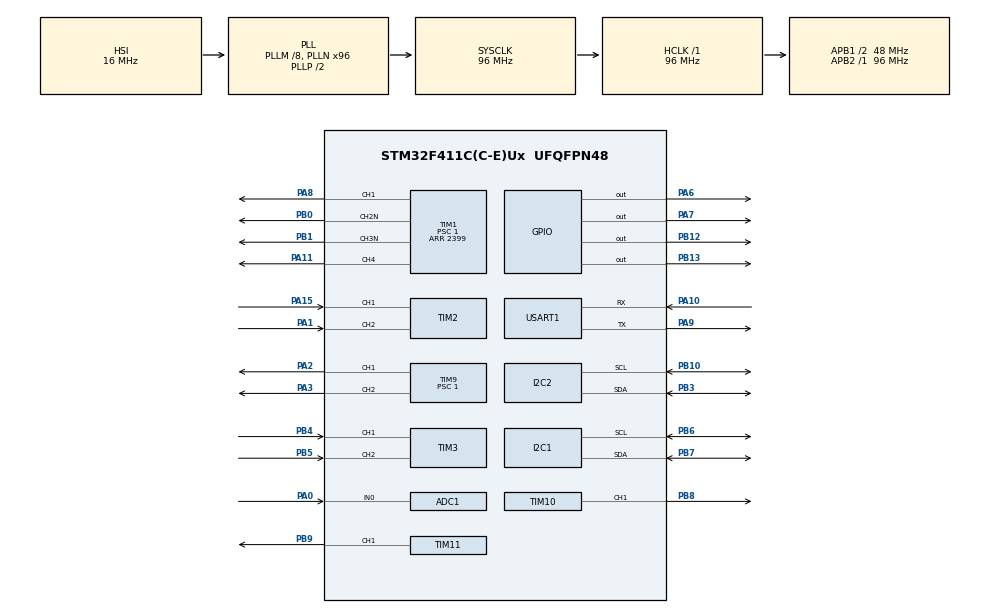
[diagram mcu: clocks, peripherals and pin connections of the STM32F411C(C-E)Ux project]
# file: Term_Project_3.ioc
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ADC1.Channel-0\#ChannelRegularConversion=ADC_CHANNEL_0
ADC1.NbrOfConversionFlag=1
ADC1.Rank-0\#ChannelRegularConversion=1
ADC1.SamplingTime-0\#ChannelRegularConversion=ADC_SAMPLETIME_3CYCLES
ADC1.master=1
Mcu.Family=STM32F4
Mcu.Name=STM32F411C(C-E)Ux
Mcu.Package=UFQFPN48
NVIC.PriorityGroup=NVIC_PRIORITYGROUP_4
NVIC.USART1_IRQn=true\:0\:0\:false\:false\:true\:true\:true\:true
PA0-WKUP.Signal=SharedAnalog_PA0
PA1.Signal=S_TIM2_CH2
PA10.Mode=Asynchronous
PA10.Signal=USART1_RX
PA11.Signal=S_TIM1_CH4
PA13.Mode=Serial_Wire
PA13.Signal=SYS_JTMS-SWDIO
PA14.Mode=Serial_Wire
PA14.Signal=SYS_JTCK-SWCLK
PA15.Signal=S_TIM2_CH1_ETR
PA2.Signal=S_TIM9_CH1
PA3.Signal=S_TIM9_CH2
PA6.Signal=GPIO_Output
PA7.Signal=GPIO_Output
PA8.Signal=S_TIM1_CH1
PA9.Mode=Asynchronous
PA9.Signal=USART1_TX
PB0.Mode=PWM Generation2 CH2N
PB0.Signal=TIM1_CH2N
PB1.Mode=PWM Generation3 CH3N
PB1.Signal=TIM1_CH3N
PB10.Mode=I2C
PB10.Signal=I2C2_SCL
PB12.Signal=GPIO_Output
PB13.Signal=GPIO_Output
PB3.Mode=I2C
PB3.Signal=I2C2_SDA
PB4.Signal=S_TIM3_CH1
PB5.Signal=S_TIM3_CH2
PB6.Mode=I2C
PB6.Signal=I2C1_SCL
PB7.Mode=I2C
PB7.Signal=I2C1_SDA
PB8.Signal=S_TIM10_CH1
PB9.Signal=S_TIM11_CH1
PH0\ -\ OSC_IN.Mode=HSE-External-Oscillator
PH0\ -\ OSC_IN.Signal=RCC_OSC_IN
PH1\ -\ OSC_OUT.Mode=HSE-External-Oscillator
PH1\ -\ OSC_OUT.Signal=RCC_OSC_OUT
ProjectManager.HeapSize=0x200
ProjectManager.StackSize=0x400
ProjectManager.TargetToolchain=STM32CubeIDE
RCC.48MHZClocksFreq_Value=48000000
RCC.AHBFreq_Value=96000000
RCC.APB1CLKDivider=RCC_HCLK_DIV2
RCC.APB1Freq_Value=48000000
RCC.APB1TimFreq_Value=96000000
RCC.APB2Freq_Value=96000000
RCC.APB2TimFreq_Value=96000000
RCC.CortexFreq_Value=96000000
RCC.HCLKFreq_Value=96000000
RCC.HSE_VALUE=16000000
RCC.HSI_VALUE=16000000
RCC.LSE_VALUE=32768
RCC.PLLM=8
RCC.PLLN=96
RCC.SYSCLKFreq_VALUE=96000000
RCC.SYSCLKSource=RCC_SYSCLKSOURCE_PLLCLK
RCC.VCOOutputFreq_Value=192000000
SH.S_TIM10_CH1.0=TIM10_CH1,PWM Generation1 CH1
SH.S_TIM11_CH1.0=TIM11_CH1,PWM Generation1 CH1
SH.S_TIM1_CH1.0=TIM1_CH1,PWM Generation1 CH1
SH.S_TIM1_CH4.0=TIM1_CH4,PWM Generation4 CH4
SH.S_TIM2_CH1_ETR.0=TIM2_CH1,Encoder_Interface
SH.S_TIM2_CH2.0=TIM2_CH2,Encoder_Interface
SH.S_TIM3_CH1.0=TIM3_CH1,Encoder_Interface
SH.S_TIM3_CH2.0=TIM3_CH2,Encoder_Interface
SH.S_TIM9_CH1.0=TIM9_CH1,PWM Generation1 CH1
SH.S_TIM9_CH2.0=TIM9_CH2,PWM Generation2 CH2
SH.SharedAnalog_PA0.0=GPIO_Analog
SH.SharedAnalog_PA0.1=ADC1_IN0,IN0
TIM1.Channel-PWM\ Generation1\ CH1=TIM_CHANNEL_1
TIM1.Channel-PWM\ Generation2\ CH2N=TIM_CHANNEL_2
TIM1.Channel-PWM\ Generation3\ CH3N=TIM_CHANNEL_3
TIM1.Channel-PWM\ Generation4\ CH4=TIM_CHANNEL_4
TIM1.Period=2399
TIM1.Prescaler=1
TIM10.Channel=TIM_CHANNEL_1
TIM10.Period=2399
TIM10.Prescaler=1
TIM11.Channel=TIM_CHANNEL_1
TIM11.Period=2399
TIM11.Prescaler=1
TIM9.Channel-PWM\ Generation1\ CH1=TIM_CHANNEL_1
TIM9.Channel-PWM\ Generation2\ CH2=TIM_CHANNEL_2
TIM9.Period=2399
TIM9.Prescaler=1
USART1.VirtualMode=VM_ASYNC
VP_TIM10_VS_ClockSourceINT.Mode=Enable_Timer
VP_TIM11_VS_ClockSourceINT.Mode=Enable_Timer
board=custom

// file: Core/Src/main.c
/* USER CODE BEGIN Header */
/**
  ******************************************************************************
  * @file main.c
  * @brief Application entry point for ping pong launcher project
  *
  * This file initializes the STM32 peripherals, sets up the finite state machine (FSM),
  * and starts the main control loop. The IMU is initialized and verified, but not actively
  * used in the FSM during runtime.
  *
  * Major functions:
  * - Setup clocks, timers, I2C, and UART
  * - Initialize motors and servo
  * - Run FSM in infinite loop
  * - Provide IMU debug output for calibration and heading
  ******************************************************************************
  * @attention
  *
  * Copyright (c) 2025 STMicroelectronics.
  * All rights reserved.
  *
  * This software is licensed under terms that can be found in the LICENSE file
  * in the root directory of this software component.
  * If no LICENSE file comes with this software, it is provided AS-IS.
  *
  ******************************************************************************
  */
/* USER CODE END Header */
#include "main.h"

/* USER CODE BEGIN Includes */
#include "motor.h"
#include "imu.h"
//#include "fsm.h"
#include <math.h>
#include <stdio.h>
#include <stdint.h>
#include <stdlib.h>
#include <string.h>
#include <ctype.h>
/* USER CODE END Includes */

/* USER CODE BEGIN PTD */
extern I2C_HandleTypeDef hi2c2;

volatile uint8_t imu_mode = 0;
volatile uint8_t calib_mode = 0;

volatile uint8_t lidar_mode = 0;
uint8_t lidar_buf[4];
/* USER CODE END PTD */

/* USER CODE BEGIN PD */
#define CPR_TURRET 3200
/* USER CODE END PD */

ADC_HandleTypeDef hadc1;

I2C_HandleTypeDef hi2c1;
I2C_HandleTypeDef hi2c2;

TIM_HandleTypeDef htim1;
TIM_HandleTypeDef htim2;
TIM_HandleTypeDef htim3;
TIM_HandleTypeDef htim9;
TIM_HandleTypeDef htim10;
TIM_HandleTypeDef htim11;

UART_HandleTypeDef huart1;

/* USER CODE BEGIN PV */
int32_t duty_flywheel1 = 0;
int32_t duty_flywheel2 = 0;
int32_t duty_turret1 = 0;
int32_t duty_turret2 = 0;

int32_t turret1_enc_count = 0;
int32_t turret1_enc_deg = 0;
int32_t turret1_target = 0;

int32_t turret2_enc_pos = 0;
int32_t turret2_enc_deg = 0;
int32_t turret2_target = 0;

motor_t flywheel1 = {
    .htim_forward = &htim1, .channel_forward = TIM_CHANNEL_1,
    .htim_reverse = &htim1, .channel_reverse = TIM_CHANNEL_4,
    .duty = 0, .target = 0, .actual = 0
};

motor_t flywheel2 = {
    .htim_forward = &htim9, .channel_forward = TIM_CHANNEL_1,
    .htim_reverse = &htim9, .channel_reverse = TIM_CHANNEL_2,
    .duty = 0, .target = 0, .actual = 0
};

motor_t turret1 = {
    .htim_forward = &htim1, .channel_forward = TIM_CHANNEL_2,
    .htim_reverse = &htim1, .channel_reverse = TIM_CHANNEL_3,
    .duty = 0, .target = 0, .actual = 0
};

motor_t turret2 = {
    .htim_forward = &htim10, .channel_forward = TIM_CHANNEL_1,
    .htim_reverse = &htim11, .channel_reverse = TIM_CHANNEL_1,
    .duty = 0, .target = 0, .actual = 0
};

// Define FSM states
typedef enum {
    STATE_0,
    STATE_1,
	STATE_2,
	STATE_3,
	STATE_4,
	STATE_5,
	STATE_6
} State_t;
State_t current_state = STATE_0;

uint8_t auto_mode = 0;
uint8_t auto_mot = 0;
uint8_t auto_lidar = 0;
uint16_t scan_index = 0;

uint32_t turret_move_start = 0;
uint16_t min_scan_dist = 0xFFFF;
uint16_t min_scan_index = 0;
uint16_t scan_res = 20;
int scan_dist[20];
int scan_amp[20];

#define RX_BUFFER_SIZE 7
uint8_t rx_buffer[RX_BUFFER_SIZE];
uint8_t rx_index = 0;
char msg_int[64];
char msg_main[64];
/* USER CODE END PV */

void SystemClock_Config(void);
static void MX_GPIO_Init(void);
static void MX_ADC1_Init(void);
static void MX_I2C1_Init(void);
static void MX_I2C2_Init(void);
static void MX_TIM1_Init(void);
static void MX_TIM2_Init(void);
static void MX_TIM3_Init(void);
static void MX_TIM9_Init(void);
static void MX_TIM10_Init(void);
static void MX_TIM11_Init(void);
static void MX_USART1_UART_Init(void);

/* USER CODE BEGIN 0 */
// === Servo Software PWM ===
void dwt_init(void) {
    CoreDebug->DEMCR |= CoreDebug_DEMCR_TRCENA_Msk;
    DWT->CYCCNT = 0;
    DWT->CTRL |= DWT_CTRL_CYCCNTENA_Msk;
}

uint16_t servo_angle = 140;  // global control variable
uint16_t servo_step = 0;
uint32_t servo_step_time = 0;

void servo_pwm_update(void) {
    static enum { IDLE, HIGH, LOW } state	 = IDLE;
    static uint32_t pulse_start_us = 0;
    static uint32_t period_start_us = 0;
    uint32_t now_us = DWT->CYCCNT / (SystemCoreClock / 1000000);

    uint32_t pulse_width_us = 1000 + ((uint32_t)servo_angle * 1000) / 180;

    switch (state) {
        case IDLE:
            HAL_GPIO_WritePin(GPIOA, GPIO_PIN_6, GPIO_PIN_SET);
            pulse_start_us = now_us;
            period_start_us = now_us;
            state = HIGH;
            break;
        case HIGH:
            if ((now_us - pulse_start_us) >= pulse_width_us) {
                HAL_GPIO_WritePin(GPIOA, GPIO_PIN_6, GPIO_PIN_RESET);
                state = LOW;
            }
            break;
        case LOW:
            if ((now_us - period_start_us) >= 20000) {
                state = IDLE;
            }
            break;
    }
}
/* USER CODE END 0 */

/**
  * @brief Main entry point — configures peripherals and enters control loop
  * @retval int
  */
int main(void)
{

  /* MCU Configuration--------------------------------------------------------*/

  /* Reset of all peripherals, Initializes the Flash interface and the Systick. */
  HAL_Init();

  /* Configure the system clock */
  SystemClock_Config();

  /* Initialize all configured peripherals */
  MX_GPIO_Init();
  MX_ADC1_Init();
  MX_I2C1_Init();
  MX_I2C2_Init();
  MX_TIM1_Init();
  MX_TIM2_Init();
  MX_TIM3_Init();
  MX_TIM9_Init();
  MX_TIM10_Init();
  MX_TIM11_Init();
  MX_USART1_UART_Init();
  /* USER CODE BEGIN 2 */
  HAL_TIM_PWM_Start(&htim1, TIM_CHANNEL_1);
  HAL_TIMEx_PWMN_Start(&htim1, TIM_CHANNEL_2);
  HAL_TIMEx_PWMN_Start(&htim1, TIM_CHANNEL_3);
  HAL_TIM_PWM_Start(&htim1, TIM_CHANNEL_4);
  HAL_TIM_PWM_Start(&htim9, TIM_CHANNEL_1);
  HAL_TIM_PWM_Start(&htim9, TIM_CHANNEL_2);
  HAL_TIM_PWM_Start(&htim10, TIM_CHANNEL_1);
  HAL_TIM_PWM_Start(&htim11, TIM_CHANNEL_1);
  HAL_TIM_Encoder_Start(&htim2, TIM_CHANNEL_ALL);
  HAL_TIM_Encoder_Start(&htim3, TIM_CHANNEL_ALL);
  HAL_GPIO_WritePin(GPIOB, GPIO_PIN_13, GPIO_PIN_RESET); // Force TF_Luna into I2C mode
  HAL_GPIO_WritePin(GPIOB, GPIO_PIN_12, GPIO_PIN_SET);  // Drive IMU RESET PIN high
  HAL_Delay(100);  // Optional but useful
  dwt_init();            // For accurate microsecond delay
  HAL_GPIO_WritePin(GPIOA, GPIO_PIN_6, GPIO_PIN_RESET);  // Initialize servo pin low
  HAL_Delay(100);

  // LUNA LIDAR I2C Check
  if (HAL_I2C_IsDeviceReady(&hi2c2, 0x10 << 1, 3, 100) == HAL_OK) {
      HAL_UART_Transmit(&huart1, (uint8_t*)"TF-Luna ready!\r\n", 17, HAL_MAX_DELAY);
  } else {
      HAL_UART_Transmit(&huart1, (uint8_t*)"TF-Luna NOT responding\r\n", 25, HAL_MAX_DELAY);
  }

  // BNO055 IMU I2C Check
  // #define BNO055_ADDR (0x29 << 1)  // 7-bit address shifted for STM32 HAL

  if (HAL_I2C_IsDeviceReady(&hi2c1, BNO055_ADDR, 3, 100) == HAL_OK) {
	  HAL_UART_Transmit(&huart1, (uint8_t*)"BNO055 ready!\r\n", 16, HAL_MAX_DELAY);
  } else {
   	  HAL_UART_Transmit(&huart1, (uint8_t*)"BNO055 NOT responding\r\n", 25, HAL_MAX_DELAY);
  }

  // IMU Init
  BNO055_Init(&hi2c1);
  //BNO055_StartCalibration();

  //uint8_t sys, gyr, acc, mag;
  //BNO055_GetCalibStatus(&sys, &gyr, &acc, &mag);
  //int len = sprintf(msg_main, "Calib SYS:%d GYR:%d ACC:%d MAG:%d\r\n", sys, gyr, acc, mag);
  //HAL_UART_Transmit(&huart1, (uint8_t*)msg_main, len, HAL_MAX_DELAY);
  HAL_Delay(100);
  int len = sprintf(msg_main, "Ping Pong Bot Starting...\r\n");
  HAL_UART_Transmit(&huart1, (uint8_t*)msg_main, len, HAL_MAX_DELAY);
  HAL_UART_Receive_IT(&huart1, &rx_buffer[rx_index], 1);
  /* USER CODE END 2 */

  /* Infinite loop */
  /* USER CODE BEGIN WHILE */
  int32_t turret1_enc_last = -1;
  int16_t turret2_enc_last = -1;
  uint8_t printed = 0;
  float heading, roll, pitch;
  int32_t imu_head_deg10 = 0;
  int32_t imu_roll_deg10 = 0;
  HAL_Delay(1000);
  //FSM_Init();
  while (1)
  {
    /* USER CODE END WHILE */

    /* USER CODE BEGIN 3 */
		//uint8_t mode = 0x00;
		//HAL_I2C_Mem_Write(&hi2c1, (0x29 << 1), 0x3D, I2C_MEMADD_SIZE_8BIT, &mode, 1, 10);
		//BNO055_ReadEuler(&heading,&roll,&pitch);
		//imu_head_deg10 = (int32_t)(heading*10.0f);
		//imu_roll_deg10 = (int32_t)(roll*10.0f);
		//HAL_Delay(20);
	    if (imu_mode) {
	        //float heading, roll, pitch;
	        //BNO055_ReadEuler(&heading, &roll, &pitch);

	        //int len = sprintf(msg_main, "H: %.1f R: %.1f P: %.1f\r\n", heading / 16.0f, roll / 16.0f, pitch / 16.0f);
	        int len = sprintf(msg_main, "H: %.1f R: %.1f P: %.1f\r\n", heading, roll, pitch);
	    	HAL_UART_Transmit(&huart1, (uint8_t*)msg_main, len, HAL_MAX_DELAY);
	        len = sprintf(msg_main, "H: %d R: %d\r\n",imu_head_deg10,imu_roll_deg10);
	    	HAL_UART_Transmit(&huart1, (uint8_t*)msg_main, len, HAL_MAX_DELAY);

	        HAL_Delay(500);  // Limit update rate
	    }

	  // ENCODERS
	  turret1_enc_count = __HAL_TIM_GET_COUNTER(&htim2);
	  if (turret1_enc_count != turret1_enc_last) {
	      turret1_enc_deg = (7200 * turret1_enc_count) / (3200*10); // 7200 = 360.0 deg × 20 (tenths)
 	      turret1_enc_last = turret1_enc_count;
	  }
	  int16_t turret2_enc_now = (int16_t)__HAL_TIM_GET_COUNTER(&htim3);
	  int16_t delta = turret2_enc_now - turret2_enc_last;
      turret2_enc_last = turret2_enc_now;
      turret2_enc_pos += delta;
      turret2_enc_deg = (7200 * turret2_enc_pos) / (3200*10); // degrees × 10
      //turret1_enc_deg = imu_roll_deg10;
      // SOFTWARE PWM
      servo_pwm_update();
      // FINITE-STATE-MACHINE
      switch(current_state)
      {
      	  //int len;
      	  case STATE_0: // Initialize
      		  turret1_target = -150;
      		  turret2_target = 30;
				if (turret_move_start == 0) {
					turret_move_start = HAL_GetTick();
				}
      		  //turret1_target = 0;
      		  //turret2_target = 0;
      		  move_to(&turret1, turret1_target, turret1_enc_deg);
      		  move_to(&turret2, turret2_target, turret2_enc_deg);
      		  //if (HAL_GetTick() - turret_move_start >= 2000)
      		  if (abs(turret1_target - turret1_enc_deg) < 5 && abs(turret2_target - turret2_enc_deg) < 5)
      		  {
      		      turret_move_start = 0;
      		      //enable(&turret2);
      			  current_state = STATE_1;
      		      int len = sprintf(msg_main, "Motors Initialized\r\n");
    	          HAL_UART_Transmit(&huart1, (uint8_t*)msg_main, len, HAL_MAX_DELAY);
      		  }
      		  break;
      	  case STATE_1: // Hub
      		  if (!printed) {
      			  int len = sprintf(msg_main, "Waiting Command...\r\n");
    	          HAL_UART_Transmit(&huart1, (uint8_t*)msg_main, len, HAL_MAX_DELAY);
      			  printed = 1;
      		  }
      		  break;
			case STATE_2: // Move turret
			{
				// Start timing on first entry into this state
				if (turret_move_start == 0) {
					turret_move_start = HAL_GetTick();
				}
					move_to(&turret1, turret1_target, turret1_enc_deg);
					move_to(&turret2, turret2_target, turret2_enc_deg);

					// Wait 1 second before considering the move "complete"
					if (abs(turret1_target - turret1_enc_deg) < 5 && abs(turret2_target - turret2_enc_deg) < 5){
					//if (HAL_GetTick() - turret_move_start >= 1000) {
						turret_move_start = 0;  // Reset for next use
						enable(&turret1);
						enable(&turret2);
						//int len = sprintf(msg_main, "Turret Move Timed Out\r\n");
						//HAL_UART_Transmit(&huart1, (uint8_t*)msg_main, len, HAL_MAX_DELAY);
						if (auto_mode == 0){
							current_state = STATE_1;
							printed = 0;
						}
						else {
							auto_mot = 1;
							current_state = STATE_6;
						}
					}
			}
			break;
      	  case STATE_3: // Lidar
      	  {
      		  uint8_t reg = 0x00;
      	      uint16_t dist = 0;
      	      uint16_t amp = 0;
      	      if (HAL_I2C_Master_Transmit(&hi2c2, 0x10 << 1, &reg, 1, 10) == HAL_OK &&
      	      	  HAL_I2C_Master_Receive(&hi2c2, 0x10 << 1, lidar_buf, 4, 10) == HAL_OK) {
      	      	  dist = lidar_buf[0] | (lidar_buf[1] << 8);
      	      	  amp  = lidar_buf[2] | (lidar_buf[3] << 8);
      	      } else {

      	      }
	          if (auto_mode == 0){
	      	      int len = sprintf(msg_main, "Dist: %d cm, Amp: %d\r\n", dist, amp);
		          HAL_UART_Transmit(&huart1, (uint8_t*)msg_main, len, HAL_MAX_DELAY);
		          current_state = STATE_1;
		          printed = 0;
	          }
	          else {
	      	      int len = sprintf(msg_main, "Auto Dist: %d cm, Amp: %d\r\n", dist, amp);
		          HAL_UART_Transmit(&huart1, (uint8_t*)msg_main, len, HAL_MAX_DELAY);
		          scan_dist[scan_index] = dist;
		          scan_amp[scan_index] = amp;
		          if (dist < min_scan_dist && amp > 100) {
		              min_scan_dist = dist;
		              min_scan_index = scan_index;
		          }
		          current_state = STATE_6;
		          auto_lidar = 1;
	          }
      	  }
	      break;
      	  case STATE_4: // Flywheels
      	  {
      		  set_duty(&flywheel1, duty_flywheel1);
	          int len = sprintf(msg_main, "Flywheel Speed Set\r\n");
	          HAL_UART_Transmit(&huart1, (uint8_t*)msg_main, len, HAL_MAX_DELAY);
      		  if (auto_mode == 0){
      			  current_state = STATE_1;
      			  printed = 0;
      		  }
      		  else {
      			  current_state = STATE_6;
      		  }
      	  }
          break;
      	  case STATE_5: // launch
      	  {
      	    //int len = sprintf(msg_main, "Servo state: %d\r\n", servo_step);
      	    //HAL_UART_Transmit(&huart1, (uint8_t*)msg_main, len, HAL_MAX_DELAY);
      	    switch (servo_step) {
      	        case 0:
      	            servo_angle = 320;  // move back
      	            servo_step_time = HAL_GetTick();
      	            servo_step = 1;
      	            break;
      	        case 1:
      	            if (HAL_GetTick() - servo_step_time >= 300) {
      	                servo_angle = 140;  // move forward
      	                servo_step_time = HAL_GetTick();
      	                servo_step = 2;
      	            }
      	            break;
      	        case 2:
      	            if (HAL_GetTick() - servo_step_time >= 300) {
      	                servo_angle = 140;  // return to center
      	                if (auto_mode == 0){
      	                	current_state = STATE_1;
      	                	printed = 0;
      	                	servo_step = 0;
      	                }
      	                else {
      	                	current_state = STATE_6;
      	                	servo_step = 0;  // reset step
      	                }
      	            }
      	            break;
      	    }
      	}
      	break;
      	case STATE_6: // Auto scan
      	{
      		HAL_Delay(50); // Avoid console clogging
      		if (scan_index < 20){
      			if (auto_mot == 0){
      				turret2_target = (10*scan_index);
      				current_state = STATE_2;
            	    //int len = sprintf(msg_main, "Motor Movement %d \r\n", scan_index);
      	            //HAL_UART_Transmit(&huart1, (uint8_t*)msg_main, len, HAL_MAX_DELAY);
      			}
      			else if (auto_lidar == 0){
      				current_state = STATE_3;
            	    //int len = sprintf(msg_main, "LIDAR Scan %d \r\n", scan_index);
      	            //HAL_UART_Transmit(&huart1, (uint8_t*)msg_main, len, HAL_MAX_DELAY);
      			}
      			else if (auto_mot == 1 && auto_lidar == 1){
      				scan_index += 1;
      				auto_mot = 0;
      				auto_lidar = 0;
      			}
      		}
      		else if (scan_index == 20){
      		    // Reset scan for next time
      		    if (min_scan_dist > 450){
      		    	int len = sprintf(msg_main,"No object in range");
      		    	HAL_UART_Transmit(&huart1, (uint8_t*)msg_main, len, HAL_MAX_DELAY);
      		    	scan_index = 24;
      		    }
      		    else {//scan_index = 0;
          		    len = sprintf(msg_main, "Scan complete. Closest at index %d, dist %d cm\r\n",
          		                      min_scan_index, min_scan_dist);
          		    HAL_UART_Transmit(&huart1, (uint8_t*)msg_main, len, HAL_MAX_DELAY);
      		    	//min_scan_index = 0;
      		    	turret2_target = (10*min_scan_index);
      		    	//turret1_target = -180;
      		    	scan_index = 21;
      		    	current_state = STATE_2;
      		    }
      		}
      		else if (scan_index == 21){
      			if (min_scan_dist < 100){
      				duty_flywheel1 = 85;
      			}
      			else if (min_scan_dist < 250){
      				duty_flywheel1 = 90;
      			}
      			else {
      				duty_flywheel1 = 100;
      			}
      			current_state = STATE_4;
      			scan_index = 22;
      		}
      		else if (scan_index == 22){
      			current_state = STATE_5;
      			scan_index = 23;
      		}
      		else if (scan_index == 23){
      			duty_flywheel1 = 0;
      			current_state = 4;
      			scan_index = 24;
      		}
      		else if (scan_index == 24){
      			auto_mode = 0;
      			printed = 0;
      			scan_index = 0;
      			min_scan_dist = 0xFFFF;
      			min_scan_index = 0;
      			current_state = STATE_1;
      		}
      		else {
        	    int len = sprintf(msg_main, "BROKEN CODE");
        	   	HAL_UART_Transmit(&huart1, (uint8_t*)msg_main, len, HAL_MAX_DELAY);
        	   	scan_index = 0;
        	   	current_state = STATE_1;
      		}
        }
      	break;
      }
	}
  /* USER CODE END 3 */
}

void SystemClock_Config(void)
{
  RCC_OscInitTypeDef RCC_OscInitStruct = {0};
  RCC_ClkInitTypeDef RCC_ClkInitStruct = {0};

  /** Configure the main internal regulator output voltage
  */
  __HAL_RCC_PWR_CLK_ENABLE();
  __HAL_PWR_VOLTAGESCALING_CONFIG(PWR_REGULATOR_VOLTAGE_SCALE1);

  /** Initializes the RCC Oscillators according to the specified parameters
  * in the RCC_OscInitTypeDef structure.
  */
  RCC_OscInitStruct.OscillatorType = RCC_OSCILLATORTYPE_HSI;
  RCC_OscInitStruct.HSIState = RCC_HSI_ON;
  RCC_OscInitStruct.HSICalibrationValue = RCC_HSICALIBRATION_DEFAULT;
  RCC_OscInitStruct.PLL.PLLState = RCC_PLL_ON;
  RCC_OscInitStruct.PLL.PLLSource = RCC_PLLSOURCE_HSI;
  RCC_OscInitStruct.PLL.PLLM = 8;
  RCC_OscInitStruct.PLL.PLLN = 96;
  RCC_OscInitStruct.PLL.PLLP = RCC_PLLP_DIV2;
  RCC_OscInitStruct.PLL.PLLQ = 4;
  if (HAL_RCC_OscConfig(&RCC_OscInitStruct) != HAL_OK)
  {
    Error_Handler();
  }

  /** Initializes the CPU, AHB and APB buses clocks
  */
  RCC_ClkInitStruct.ClockType = RCC_CLOCKTYPE_HCLK|RCC_CLOCKTYPE_SYSCLK
                              |RCC_CLOCKTYPE_PCLK1|RCC_CLOCKTYPE_PCLK2;
  RCC_ClkInitStruct.SYSCLKSource = RCC_SYSCLKSOURCE_PLLCLK;
  RCC_ClkInitStruct.AHBCLKDivider = RCC_SYSCLK_DIV1;
  RCC_ClkInitStruct.APB1CLKDivider = RCC_HCLK_DIV2;
  RCC_ClkInitStruct.APB2CLKDivider = RCC_HCLK_DIV1;

  if (HAL_RCC_ClockConfig(&RCC_ClkInitStruct, FLASH_LATENCY_3) != HAL_OK)
  {
    Error_Handler();
  }
}

static void MX_ADC1_Init(void)
{

  ADC_ChannelConfTypeDef sConfig = {0};

  /** Configure the global features of the ADC (Clock, Resolution, Data Alignment and number of conversion)
  */
  hadc1.Instance = ADC1;
  hadc1.Init.ClockPrescaler = ADC_CLOCK_SYNC_PCLK_DIV4;
  hadc1.Init.Resolution = ADC_RESOLUTION_12B;
  hadc1.Init.ScanConvMode = DISABLE;
  hadc1.Init.ContinuousConvMode = DISABLE;
  hadc1.Init.DiscontinuousConvMode = DISABLE;
  hadc1.Init.ExternalTrigConvEdge = ADC_EXTERNALTRIGCONVEDGE_NONE;
  hadc1.Init.ExternalTrigConv = ADC_SOFTWARE_START;
  hadc1.Init.DataAlign = ADC_DATAALIGN_RIGHT;
  hadc1.Init.NbrOfConversion = 1;
  hadc1.Init.DMAContinuousRequests = DISABLE;
  hadc1.Init.EOCSelection = ADC_EOC_SINGLE_CONV;
  if (HAL_ADC_Init(&hadc1) != HAL_OK)
  {
    Error_Handler();
  }

  /** Configure for the selected ADC regular channel its corresponding rank in the sequencer and its sample time.
  */
  sConfig.Channel = ADC_CHANNEL_0;
  sConfig.Rank = 1;
  sConfig.SamplingTime = ADC_SAMPLETIME_3CYCLES;
  if (HAL_ADC_ConfigChannel(&hadc1, &sConfig) != HAL_OK)
  {
    Error_Handler();
  }

}

static void MX_I2C1_Init(void)
{

  hi2c1.Instance = I2C1;
  hi2c1.Init.ClockSpeed = 100000;
  hi2c1.Init.DutyCycle = I2C_DUTYCYCLE_2;
  hi2c1.Init.OwnAddress1 = 0;
  hi2c1.Init.AddressingMode = I2C_ADDRESSINGMODE_7BIT;
  hi2c1.Init.DualAddressMode = I2C_DUALADDRESS_DISABLE;
  hi2c1.Init.OwnAddress2 = 0;
  hi2c1.Init.GeneralCallMode = I2C_GENERALCALL_DISABLE;
  hi2c1.Init.NoStretchMode = I2C_NOSTRETCH_DISABLE;
  if (HAL_I2C_Init(&hi2c1) != HAL_OK)
  {
    Error_Handler();
  }

}

static void MX_I2C2_Init(void)
{

  hi2c2.Instance = I2C2;
  hi2c2.Init.ClockSpeed = 100000;
  hi2c2.Init.DutyCycle = I2C_DUTYCYCLE_2;
  hi2c2.Init.OwnAddress1 = 0;
  hi2c2.Init.AddressingMode = I2C_ADDRESSINGMODE_7BIT;
  hi2c2.Init.DualAddressMode = I2C_DUALADDRESS_DISABLE;
  hi2c2.Init.OwnAddress2 = 0;
  hi2c2.Init.GeneralCallMode = I2C_GENERALCALL_DISABLE;
  hi2c2.Init.NoStretchMode = I2C_NOSTRETCH_DISABLE;
  if (HAL_I2C_Init(&hi2c2) != HAL_OK)
  {
    Error_Handler();
  }

}

static void MX_TIM1_Init(void)
{

  TIM_MasterConfigTypeDef sMasterConfig = {0};
  TIM_OC_InitTypeDef sConfigOC = {0};
  TIM_BreakDeadTimeConfigTypeDef sBreakDeadTimeConfig = {0};

  htim1.Instance = TIM1;
  htim1.Init.Prescaler = 1;
  htim1.Init.CounterMode = TIM_COUNTERMODE_UP;
  htim1.Init.Period = 2399;
  htim1.Init.ClockDivision = TIM_CLOCKDIVISION_DIV1;
  htim1.Init.RepetitionCounter = 0;
  htim1.Init.AutoReloadPreload = TIM_AUTORELOAD_PRELOAD_DISABLE;
  if (HAL_TIM_PWM_Init(&htim1) != HAL_OK)
  {
    Error_Handler();
  }
  sMasterConfig.MasterOutputTrigger = TIM_TRGO_RESET;
  sMasterConfig.MasterSlaveMode = TIM_MASTERSLAVEMODE_DISABLE;
  if (HAL_TIMEx_MasterConfigSynchronization(&htim1, &sMasterConfig) != HAL_OK)
  {
    Error_Handler();
  }
  sConfigOC.OCMode = TIM_OCMODE_PWM1;
  sConfigOC.Pulse = 0;
  sConfigOC.OCPolarity = TIM_OCPOLARITY_HIGH;
  sConfigOC.OCNPolarity = TIM_OCNPOLARITY_HIGH;
  sConfigOC.OCFastMode = TIM_OCFAST_DISABLE;
  sConfigOC.OCIdleState = TIM_OCIDLESTATE_RESET;
  sConfigOC.OCNIdleState = TIM_OCNIDLESTATE_RESET;
  if (HAL_TIM_PWM_ConfigChannel(&htim1, &sConfigOC, TIM_CHANNEL_1) != HAL_OK)
  {
    Error_Handler();
  }
  if (HAL_TIM_PWM_ConfigChannel(&htim1, &sConfigOC, TIM_CHANNEL_2) != HAL_OK)
  {
    Error_Handler();
  }
  if (HAL_TIM_PWM_ConfigChannel(&htim1, &sConfigOC, TIM_CHANNEL_3) != HAL_OK)
  {
    Error_Handler();
  }
  if (HAL_TIM_PWM_ConfigChannel(&htim1, &sConfigOC, TIM_CHANNEL_4) != HAL_OK)
  {
    Error_Handler();
  }
  sBreakDeadTimeConfig.OffStateRunMode = TIM_OSSR_DISABLE;
  sBreakDeadTimeConfig.OffStateIDLEMode = TIM_OSSI_DISABLE;
  sBreakDeadTimeConfig.LockLevel = TIM_LOCKLEVEL_OFF;
  sBreakDeadTimeConfig.DeadTime = 0;
  sBreakDeadTimeConfig.BreakState = TIM_BREAK_DISABLE;
  sBreakDeadTimeConfig.BreakPolarity = TIM_BREAKPOLARITY_HIGH;
  sBreakDeadTimeConfig.AutomaticOutput = TIM_AUTOMATICOUTPUT_DISABLE;
  if (HAL_TIMEx_ConfigBreakDeadTime(&htim1, &sBreakDeadTimeConfig) != HAL_OK)
  {
    Error_Handler();
  }
  HAL_TIM_MspPostInit(&htim1);

}

static void MX_TIM2_Init(void)
{

  TIM_Encoder_InitTypeDef sConfig = {0};
  TIM_MasterConfigTypeDef sMasterConfig = {0};

  htim2.Instance = TIM2;
  htim2.Init.Prescaler = 0;
  htim2.Init.CounterMode = TIM_COUNTERMODE_UP;
  htim2.Init.Period = 4294967295;
  htim2.Init.ClockDivision = TIM_CLOCKDIVISION_DIV1;
  htim2.Init.AutoReloadPreload = TIM_AUTORELOAD_PRELOAD_DISABLE;
  sConfig.EncoderMode = TIM_ENCODERMODE_TI1;
  sConfig.IC1Polarity = TIM_ICPOLARITY_RISING;
  sConfig.IC1Selection = TIM_ICSELECTION_DIRECTTI;
  sConfig.IC1Prescaler = TIM_ICPSC_DIV1;
  sConfig.IC1Filter = 0;
  sConfig.IC2Polarity = TIM_ICPOLARITY_RISING;
  sConfig.IC2Selection = TIM_ICSELECTION_DIRECTTI;
  sConfig.IC2Prescaler = TIM_ICPSC_DIV1;
  sConfig.IC2Filter = 0;
  if (HAL_TIM_Encoder_Init(&htim2, &sConfig) != HAL_OK)
  {
    Error_Handler();
  }
  sMasterConfig.MasterOutputTrigger = TIM_TRGO_RESET;
  sMasterConfig.MasterSlaveMode = TIM_MASTERSLAVEMODE_DISABLE;
  if (HAL_TIMEx_MasterConfigSynchronization(&htim2, &sMasterConfig) != HAL_OK)
  {
    Error_Handler();
  }

}

static void MX_TIM3_Init(void)
{

  TIM_Encoder_InitTypeDef sConfig = {0};
  TIM_MasterConfigTypeDef sMasterConfig = {0};

  htim3.Instance = TIM3;
  htim3.Init.Prescaler = 0;
  htim3.Init.CounterMode = TIM_COUNTERMODE_UP;
  htim3.Init.Period = 65535;
  htim3.Init.ClockDivision = TIM_CLOCKDIVISION_DIV1;
  htim3.Init.AutoReloadPreload = TIM_AUTORELOAD_PRELOAD_DISABLE;
  sConfig.EncoderMode = TIM_ENCODERMODE_TI1;
  sConfig.IC1Polarity = TIM_ICPOLARITY_RISING;
  sConfig.IC1Selection = TIM_ICSELECTION_DIRECTTI;
  sConfig.IC1Prescaler = TIM_ICPSC_DIV1;
  sConfig.IC1Filter = 0;
  sConfig.IC2Polarity = TIM_ICPOLARITY_RISING;
  sConfig.IC2Selection = TIM_ICSELECTION_DIRECTTI;
  sConfig.IC2Prescaler = TIM_ICPSC_DIV1;
  sConfig.IC2Filter = 0;
  if (HAL_TIM_Encoder_Init(&htim3, &sConfig) != HAL_OK)
  {
    Error_Handler();
  }
  sMasterConfig.MasterOutputTrigger = TIM_TRGO_RESET;
  sMasterConfig.MasterSlaveMode = TIM_MASTERSLAVEMODE_DISABLE;
  if (HAL_TIMEx_MasterConfigSynchronization(&htim3, &sMasterConfig) != HAL_OK)
  {
    Error_Handler();
  }

}

static void MX_TIM9_Init(void)
{

  TIM_OC_InitTypeDef sConfigOC = {0};

  htim9.Instance = TIM9;
  htim9.Init.Prescaler = 1;
  htim9.Init.CounterMode = TIM_COUNTERMODE_UP;
  htim9.Init.Period = 2399;
  htim9.Init.ClockDivision = TIM_CLOCKDIVISION_DIV1;
  htim9.Init.AutoReloadPreload = TIM_AUTORELOAD_PRELOAD_DISABLE;
  if (HAL_TIM_PWM_Init(&htim9) != HAL_OK)
  {
    Error_Handler();
  }
  sConfigOC.OCMode = TIM_OCMODE_PWM1;
  sConfigOC.Pulse = 0;
  sConfigOC.OCPolarity = TIM_OCPOLARITY_HIGH;
  sConfigOC.OCFastMode = TIM_OCFAST_DISABLE;
  if (HAL_TIM_PWM_ConfigChannel(&htim9, &sConfigOC, TIM_CHANNEL_1) != HAL_OK)
  {
    Error_Handler();
  }
  if (HAL_TIM_PWM_ConfigChannel(&htim9, &sConfigOC, TIM_CHANNEL_2) != HAL_OK)
  {
    Error_Handler();
  }
  HAL_TIM_MspPostInit(&htim9);

}

static void MX_TIM10_Init(void)
{

  TIM_OC_InitTypeDef sConfigOC = {0};

  htim10.Instance = TIM10;
  htim10.Init.Prescaler = 1;
  htim10.Init.CounterMode = TIM_COUNTERMODE_UP;
  htim10.Init.Period = 2399;
  htim10.Init.ClockDivision = TIM_CLOCKDIVISION_DIV1;
  htim10.Init.AutoReloadPreload = TIM_AUTORELOAD_PRELOAD_DISABLE;
  if (HAL_TIM_Base_Init(&htim10) != HAL_OK)
  {
    Error_Handler();
  }
  if (HAL_TIM_PWM_Init(&htim10) != HAL_OK)
  {
    Error_Handler();
  }
  sConfigOC.OCMode = TIM_OCMODE_PWM1;
  sConfigOC.Pulse = 0;
  sConfigOC.OCPolarity = TIM_OCPOLARITY_HIGH;
  sConfigOC.OCFastMode = TIM_OCFAST_DISABLE;
  if (HAL_TIM_PWM_ConfigChannel(&htim10, &sConfigOC, TIM_CHANNEL_1) != HAL_OK)
  {
    Error_Handler();
  }
  HAL_TIM_MspPostInit(&htim10);

}

static void MX_TIM11_Init(void)
{

  TIM_OC_InitTypeDef sConfigOC = {0};

  htim11.Instance = TIM11;
  htim11.Init.Prescaler = 1;
  htim11.Init.CounterMode = TIM_COUNTERMODE_UP;
  htim11.Init.Period = 2399;
  htim11.Init.ClockDivision = TIM_CLOCKDIVISION_DIV1;
  htim11.Init.AutoReloadPreload = TIM_AUTORELOAD_PRELOAD_DISABLE;
  if (HAL_TIM_Base_Init(&htim11) != HAL_OK)
  {
    Error_Handler();
  }
  if (HAL_TIM_PWM_Init(&htim11) != HAL_OK)
  {
    Error_Handler();
  }
  sConfigOC.OCMode = TIM_OCMODE_PWM1;
  sConfigOC.Pulse = 0;
  sConfigOC.OCPolarity = TIM_OCPOLARITY_HIGH;
  sConfigOC.OCFastMode = TIM_OCFAST_DISABLE;
  if (HAL_TIM_PWM_ConfigChannel(&htim11, &sConfigOC, TIM_CHANNEL_1) != HAL_OK)
  {
    Error_Handler();
  }
  HAL_TIM_MspPostInit(&htim11);

}

static void MX_USART1_UART_Init(void)
{

  huart1.Instance = USART1;
  huart1.Init.BaudRate = 115200;
  huart1.Init.WordLength = UART_WORDLENGTH_8B;
  huart1.Init.StopBits = UART_STOPBITS_1;
  huart1.Init.Parity = UART_PARITY_NONE;
  huart1.Init.Mode = UART_MODE_TX_RX;
  huart1.Init.HwFlowCtl = UART_HWCONTROL_NONE;
  huart1.Init.OverSampling = UART_OVERSAMPLING_16;
  if (HAL_UART_Init(&huart1) != HAL_OK)
  {
    Error_Handler();
  }

}

static void MX_GPIO_Init(void)
{
  GPIO_InitTypeDef GPIO_InitStruct = {0};

  /* GPIO Ports Clock Enable */
  __HAL_RCC_GPIOH_CLK_ENABLE();
  __HAL_RCC_GPIOA_CLK_ENABLE();
  __HAL_RCC_GPIOB_CLK_ENABLE();

  /*Configure GPIO pin Output Level */
  HAL_GPIO_WritePin(GPIOA, GPIO_PIN_6|GPIO_PIN_7, GPIO_PIN_RESET);

  /*Configure GPIO pin Output Level */
  HAL_GPIO_WritePin(GPIOB, GPIO_PIN_12|GPIO_PIN_13, GPIO_PIN_RESET);

  /*Configure GPIO pins : PA6 PA7 */
  GPIO_InitStruct.Pin = GPIO_PIN_6|GPIO_PIN_7;
  GPIO_InitStruct.Mode = GPIO_MODE_OUTPUT_PP;
  GPIO_InitStruct.Pull = GPIO_NOPULL;
  GPIO_InitStruct.Speed = GPIO_SPEED_FREQ_LOW;
  HAL_GPIO_Init(GPIOA, &GPIO_InitStruct);

  /*Configure GPIO pins : PB12 PB13 */
  GPIO_InitStruct.Pin = GPIO_PIN_12|GPIO_PIN_13;
  GPIO_InitStruct.Mode = GPIO_MODE_OUTPUT_PP;
  GPIO_InitStruct.Pull = GPIO_NOPULL;
  GPIO_InitStruct.Speed = GPIO_SPEED_FREQ_LOW;
  HAL_GPIO_Init(GPIOB, &GPIO_InitStruct);

}

/* USER CODE BEGIN 4 */
void HAL_UART_RxCpltCallback(UART_HandleTypeDef *huart)
{
    if (huart->Instance == USART1)
    {
        uint8_t received = rx_buffer[rx_index];

        if (received == '\r')  // End of command
        {
            // Enforce valid format: exactly 4 printable characters
            if (rx_index != 4 ||
                !isprint(rx_buffer[0]) ||
                !isprint(rx_buffer[1]) ||
                !isprint(rx_buffer[2]) ||
                !isprint(rx_buffer[3]))
            {
                int len = sprintf(msg_int, "Invalid command format\r\n");
                HAL_UART_Transmit(&huart1, (uint8_t*)msg_int, len, HAL_MAX_DELAY);
            }
            else if (current_state == STATE_1)
            {
                rx_buffer[rx_index] = '\0';  // Null-terminate

                // Echo for debugging
                int len = sprintf(msg_int, "RX: %s\r\n", rx_buffer);
                HAL_UART_Transmit(&huart1, (uint8_t*)msg_int, len, HAL_MAX_DELAY);

                // ---------------- Motor Control ----------------
                if ((rx_buffer[0] == 'M' || rx_buffer[0] == 'm') &&
                    (rx_buffer[1] >= '1' && rx_buffer[1] <= '2') &&
                    isxdigit(rx_buffer[2]) && isxdigit(rx_buffer[3]))
                {
                    uint8_t motor_id = rx_buffer[1] - '0';
                    char hex_str[3] = { rx_buffer[2], rx_buffer[3], '\0' };
                    uint8_t raw = (uint8_t)strtol(hex_str, NULL, 16);
                    int8_t signed_val = *(int8_t*)&raw;
                    int32_t duty = signed_val;

                    if (duty > 100) duty = 100;
                    if (duty < -100) duty = -100;

                    if (motor_id == 1) duty_flywheel1 = duty;
                    else if (motor_id == 2) duty_flywheel2 = duty;

                    len = sprintf(msg_int, "Motor %d set to %ld%%\r\n", motor_id, duty);
                    HAL_UART_Transmit(&huart1, (uint8_t*)msg_int, len, HAL_MAX_DELAY);

                    current_state = STATE_4;
                }

                // ---------------- Turret 1 Read ----------------
                else if (strncmp((char*)rx_buffer, "T1re", 4) == 0)
                {
                    int len = sprintf(msg_int, "Turret 1 angle: %ld.%01ld deg\r\n", turret1_enc_deg / 10, labs(turret1_enc_deg % 10));
                    HAL_UART_Transmit(&huart1, (uint8_t*)msg_int, len, HAL_MAX_DELAY);
                }

                // ---------------- Turret 1 Set ----------------
                else if (rx_buffer[0] == 'T' && rx_buffer[1] == '1' &&
                         isxdigit(rx_buffer[2]) && isxdigit(rx_buffer[3]))
                {
                    char hex_str[3] = { rx_buffer[2], rx_buffer[3], '\0' };
                    uint8_t raw = (uint8_t)strtol(hex_str, NULL, 16);
                    int8_t signed_val = *(int8_t*)&raw;
                    turret1_target = (int32_t)signed_val * 10;

                    int len = sprintf(msg_int, "Turret 1 target set to: %ld.%01ld deg\r\n", turret1_target / 10, labs(turret1_target % 10));
                    HAL_UART_Transmit(&huart1, (uint8_t*)msg_int, len, HAL_MAX_DELAY);

                    current_state = STATE_2;
                }

                // ---------------- Turret 2 Read ----------------
                else if (strncmp((char*)rx_buffer, "T2re", 4) == 0)
                {
                    int len = sprintf(msg_int, "Turret 2 angle: %ld.%01ld deg\r\n", turret2_enc_deg / 10, labs(turret2_enc_deg % 10));
                    HAL_UART_Transmit(&huart1, (uint8_t*)msg_int, len, HAL_MAX_DELAY);
                }

                // ---------------- Turret 2 Set ----------------
                else if (rx_buffer[0] == 'T' && rx_buffer[1] == '2' &&
                         isxdigit(rx_buffer[2]) && isxdigit(rx_buffer[3]))
                {
                    char hex_str[3] = { rx_buffer[2], rx_buffer[3], '\0' };
                    uint8_t raw = (uint8_t)strtol(hex_str, NULL, 16);
                    int8_t signed_val = *(int8_t*)&raw;
                    turret2_target = (int32_t)signed_val * 10;

                    int len = sprintf(msg_int, "Turret 2 target set to: %ld.%01ld deg\r\n", turret2_target / 10, labs(turret2_target % 10));
                    HAL_UART_Transmit(&huart1, (uint8_t*)msg_int, len, HAL_MAX_DELAY);

                    current_state = STATE_2;
                }

                // ---------------- LIDAR Start ----------------
                else if (strncmp((char*)rx_buffer, "LIDA", 4) == 0)
                {
                    lidar_mode = 1;
                    int len = sprintf(msg_int, "LIDAR streaming started.\r\n");
                    HAL_UART_Transmit(&huart1, (uint8_t*)msg_int, len, HAL_MAX_DELAY);
                    current_state = STATE_3;
                }
                // SERVO LAUNCH
                else if (strncmp((char*)rx_buffer, "SRUN", 4) == 0)
                {
                	current_state = STATE_5;
                    int len = sprintf(msg_int, "Servo routine starting\r\n");
                    HAL_UART_Transmit(&huart1, (uint8_t*)msg_int, len, HAL_MAX_DELAY);
                }
                else if (strncmp((char*)rx_buffer, "SCAN", 4) == 0)
                {
                	auto_mode = 1;
                	current_state = STATE_6;
                    int len = sprintf(msg_int, "Starting scan\r\n");
                    HAL_UART_Transmit(&huart1, (uint8_t*)msg_int, len, HAL_MAX_DELAY);
                }
                else if (strncmp((char*)rx_buffer, "HEAD", 4) == 0) {
                    imu_mode = 1;
                    int len = sprintf(msg_int, "IMU heading stream started\r\n");
                    HAL_UART_Transmit(&huart1, (uint8_t*)msg_int, len, HAL_MAX_DELAY);
                }
                else if (strncmp((char*)rx_buffer, "STOP", 4) == 0) {
                    imu_mode = 0;
                    int len = sprintf(msg_int, "Streaming stopped\r\n");
                    HAL_UART_Transmit(&huart1, (uint8_t*)msg_int, len, HAL_MAX_DELAY);
                }
                // ---------------- LIDAR Stop ----------------
                /*else if (strncmp((char*)rx_buffer, "STOP", 4) == 0)
                {
                    lidar_mode = 0;
                    int len = sprintf(msg_int, "LIDAR streaming stopped.\r\n");
                    HAL_UART_Transmit(&huart1, (uint8_t*)msg_int, len, HAL_MAX_DELAY);
                    current_state = STATE_1;
                }*/

                // ---------------- Unknown Command ----------------
                else
                {
                    int len = sprintf(msg_int, "Invalid command\r\n");
                    HAL_UART_Transmit(&huart1, (uint8_t*)msg_int, len, HAL_MAX_DELAY);
                }
            }

            // Always reset buffer after processing a command
            memset(rx_buffer, 0, RX_BUFFER_SIZE);
            rx_index = 0;
        }
        else
        {
            rx_index++;
            if (rx_index >= RX_BUFFER_SIZE)
                rx_index = 0;
        }

        // Re-arm UART reception
        HAL_UART_Receive_IT(&huart1, &rx_buffer[rx_index], 1);
    }
}

/* USER CODE END 4 */

void Error_Handler(void)
{
  __disable_irq();
  while (1)
  {
  }
}
